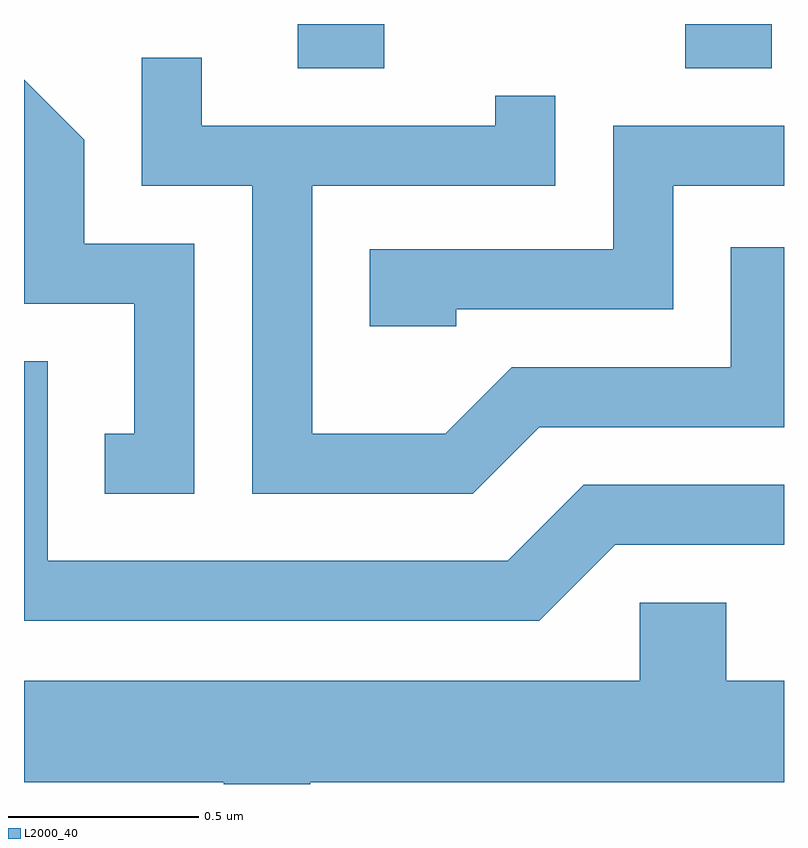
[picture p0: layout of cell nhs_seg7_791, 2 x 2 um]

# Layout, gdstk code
import gdstk
lib = gdstk.Library(unit=1e-6, precision=1e-09)
def R(c, l, rs):  # rectangles x0, y0, x1, y1
    for r in rs: c.add(gdstk.rectangle(r[:2], r[2:], *l))
def P(c, l, *ps):  # polygons
    for p in ps: c.add(gdstk.Polygon(p, *l))
L2000_40 = (2000, 40)

nhs_seg7_791 = lib.new_cell('nhs_seg7_791')
R(nhs_seg7_791, L2000_40, [(191.331,1776.136,191.559,1776.252), (192.351,1776.136,192.579,1776.252)])
P(nhs_seg7_791, L2000_40, [(191.967,1775.191),(192.611,1775.191),(192.611,1775.664),(192.471,1775.664),(192.471,1775.349),(191.894,1775.349),(191.719,1775.174),(191.369,1775.174),(191.369,1775.826),(192.009,1775.826),(192.009,1776.063),(191.851,1776.063),(191.851,1775.984),(191.079,1775.984),(191.079,1776.163),(190.921,1776.163),(190.921,1775.826),(191.211,1775.826),(191.211,1775.016),(191.792,1775.016)],
  [(191.059,1775.674),(190.769,1775.674),(190.769,1775.947),(190.611,1776.105),(190.611,1775.516),(190.901,1775.516),(190.901,1775.174),(190.823,1775.174),(190.823,1775.016),(191.059,1775.016)],
  [(191.749,1775.501),(192.319,1775.501),(192.319,1775.826),(192.611,1775.826),(192.611,1775.984),(192.161,1775.984),(192.161,1775.659),(191.521,1775.659),(191.521,1775.456),(191.749,1775.456)],
  [(192.167,1774.881),(192.611,1774.881),(192.611,1775.039),(192.084,1775.039),(191.884,1774.839),(190.674,1774.839),(190.674,1775.364),(190.611,1775.364),(190.611,1774.681),(191.967,1774.681)],
  [(191.364,1774.256),(192.611,1774.256),(192.611,1774.524),(192.459,1774.524),(192.459,1774.729),(192.231,1774.729),(192.231,1774.524),(190.611,1774.524),(190.611,1774.256),(191.136,1774.256),(191.136,1774.252),(191.364,1774.252)])

lib.write_gds('nhs_seg7_791.gds')
